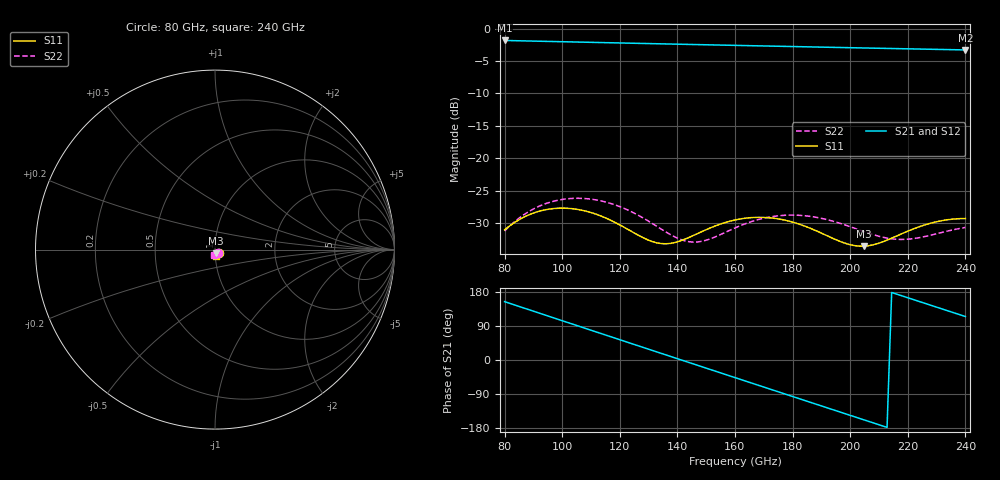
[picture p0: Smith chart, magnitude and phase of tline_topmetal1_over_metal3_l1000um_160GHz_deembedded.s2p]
! Created with skrf 2.2.0 (http://scikit-rf.org).
# GHz S DB R 50.0
! Port[1] = P1
! Port[2] = P2
!freq dBS11 angS11 dBS21 angS21 dBS12 angS12 dBS22 angS22
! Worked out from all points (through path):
!   101 points, 80 GHz to 240 GHz, reference 50 ohm
!   highest |S21| = -1.81 dB at 80 GHz (marker M1); lowest = -3.3 dB at 240 GHz (marker M2)
!   group delay of S21, straight-line fit = 6.93 ps
!   lowest |S11| = -33.6 dB at 204.8 GHz (marker M3), VSWR 1.04, Z = 50.3 - j2.07 ohm
!   |S11| at or under -10 dB: start of sweep to end of sweep
!   |S22| runs from -33.0 to -26.2 dB; largest |S21 - S12| = 9.4e-14
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80  -31.08 -42.8  -1.81 154.0  -1.81 154.0  -31.25 -47.4
88  -28.84 -47.5  -1.88 133.9  -1.88 133.9  -28.36 -50.6
94.4  -27.96 -55.8  -1.95 117.8  -1.95 117.8  -27.00 -59.1
100.8  -27.73 -65.2  -2.01 101.7  -2.01 101.7  -26.33 -69.4
107.2  -28.09 -74.2  -2.07 85.6  -2.07 85.6  -26.22 -80.1
113.6  -28.97 -81.8  -2.13 69.6  -2.13 69.6  -26.62 -90.4
120  -30.32 -86.3  -2.19 53.5  -2.19 53.5  -27.49 -99.3
128  -32.28 -84.2  -2.27 33.5  -2.27 33.5  -29.22 -106.9
134.4  -33.21 -75.2  -2.33 17.5  -2.33 17.5  -30.97 -107.7
140.8  -32.83 -65.2  -2.39 1.5  -2.39 1.5  -32.52 -101.5
147.2  -31.61 -60.9  -2.45 -14.5  -2.45 -14.5  -32.95 -90.2
160  -29.56 -67.6  -2.56 -46.5  -2.56 -46.5  -30.79 -79.9
168  -29.15 -76.4  -2.64 -66.4  -2.64 -66.4  -29.50 -84.1
174.4  -29.34 -83.6  -2.69 -82.4  -2.69 -82.4  -28.94 -90.2
180.8  -29.99 -89.8  -2.75 -98.3  -2.75 -98.3  -28.81 -97.0
187.2  -31.04 -93.6  -2.81 -114.2  -2.81 -114.2  -29.07 -103.5
196.8  -32.92 -91.0  -2.90 -138.1  -2.90 -138.1  -30.12 -110.6
204.8  -33.61 -80.2  -2.97 -158.0  -2.97 -158.0  -31.35 -111.8
214.4  -32.37 -69.7  -3.05 178.2  -3.05 178.2  -32.47 -106.1
225.6  -30.36 -71.5  -3.15 150.4  -3.15 150.4  -32.15 -97.2
233.6  -29.53 -78.3  -3.21 130.6  -3.21 130.6  -31.29 -95.8
240  -29.34 -84.9  -3.27 114.7  -3.27 114.7  -30.71 -97.8
